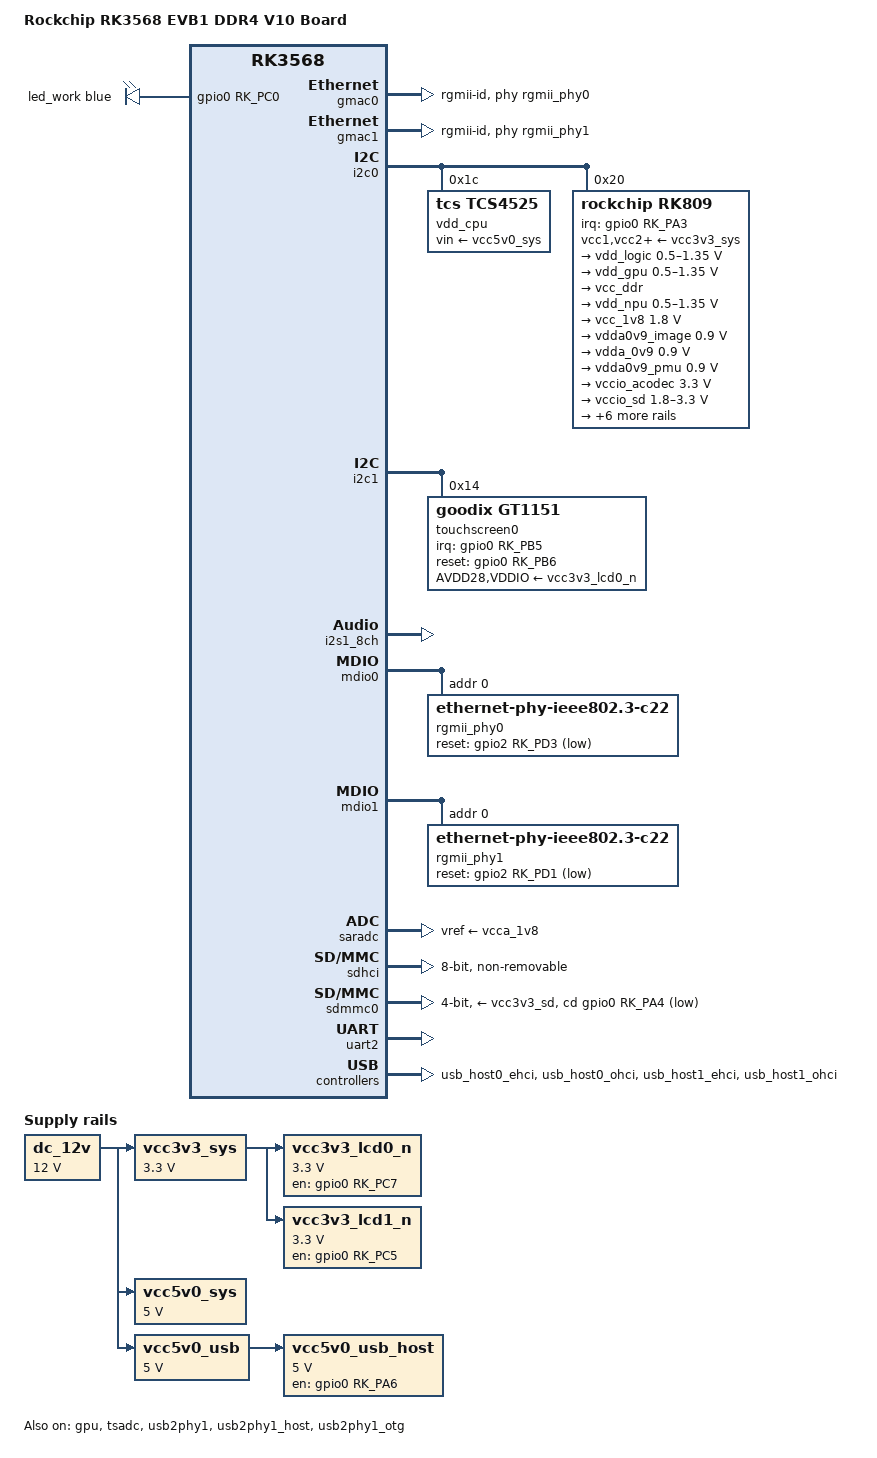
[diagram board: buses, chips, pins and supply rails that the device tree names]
// SPDX-License-Identifier: (GPL-2.0+ OR MIT)
/*
 * Copyright (c) 2021 Rockchip Electronics Co., Ltd.
 *
 */

/dts-v1/;
#include <dt-bindings/gpio/gpio.h>
#include <dt-bindings/leds/common.h>
#include <dt-bindings/pinctrl/rockchip.h>
#include "rk3568.dtsi"

/ {
	model = "Rockchip RK3568 EVB1 DDR4 V10 Board";
	compatible = "rockchip,rk3568-evb1-v10", "rockchip,rk3568";

	aliases {
		ethernet0 = &gmac0;
		ethernet1 = &gmac1;
		mmc0 = &sdmmc0;
		mmc1 = &sdhci;
	};

	chosen: chosen {
		stdout-path = "serial2:1500000n8";
	};

	dc_12v: dc-12v {
		compatible = "regulator-fixed";
		regulator-name = "dc_12v";
		regulator-always-on;
		regulator-boot-on;
		regulator-min-microvolt = <12000000>;
		regulator-max-microvolt = <12000000>;
	};

	leds {
		compatible = "gpio-leds";

		led_work: led-0 {
			gpios = <&gpio0 RK_PC0 GPIO_ACTIVE_HIGH>;
			function = LED_FUNCTION_HEARTBEAT;
			color = <LED_COLOR_ID_BLUE>;
			linux,default-trigger = "heartbeat";
			pinctrl-names = "default";
			pinctrl-0 = <&led_work_en>;
		};
	};

	rk809-sound {
		compatible = "simple-audio-card";
		simple-audio-card,format = "i2s";
		simple-audio-card,name = "Analog RK809";
		simple-audio-card,mclk-fs = <256>;

		simple-audio-card,cpu {
			sound-dai = <&i2s1_8ch>;
		};
		simple-audio-card,codec {
			sound-dai = <&rk809>;
		};
	};

	vcc3v3_sys: vcc3v3-sys {
		compatible = "regulator-fixed";
		regulator-name = "vcc3v3_sys";
		regulator-always-on;
		regulator-boot-on;
		regulator-min-microvolt = <3300000>;
		regulator-max-microvolt = <3300000>;
		vin-supply = <&dc_12v>;
	};

	vcc5v0_sys: vcc5v0-sys {
		compatible = "regulator-fixed";
		regulator-name = "vcc5v0_sys";
		regulator-always-on;
		regulator-boot-on;
		regulator-min-microvolt = <5000000>;
		regulator-max-microvolt = <5000000>;
		vin-supply = <&dc_12v>;
	};

	vcc5v0_usb: vcc5v0-usb {
		compatible = "regulator-fixed";
		regulator-name = "vcc5v0_usb";
		regulator-always-on;
		regulator-boot-on;
		regulator-min-microvolt = <5000000>;
		regulator-max-microvolt = <5000000>;
		vin-supply = <&dc_12v>;
	};

	vcc5v0_usb_host: vcc5v0-usb-host {
		compatible = "regulator-fixed";
		enable-active-high;
		gpio = <&gpio0 RK_PA6 GPIO_ACTIVE_HIGH>;
		pinctrl-names = "default";
		pinctrl-0 = <&vcc5v0_usb_host_en>;
		regulator-name = "vcc5v0_usb_host";
		regulator-min-microvolt = <5000000>;
		regulator-max-microvolt = <5000000>;
		vin-supply = <&vcc5v0_usb>;
	};

	vcc3v3_lcd0_n: vcc3v3-lcd0-n {
		compatible = "regulator-fixed";
		regulator-name = "vcc3v3_lcd0_n";
		regulator-min-microvolt = <3300000>;
		regulator-max-microvolt = <3300000>;
		enable-active-high;
		gpio = <&gpio0 RK_PC7 GPIO_ACTIVE_HIGH>;
		vin-supply = <&vcc3v3_sys>;
		pinctrl-names = "default";
		pinctrl-0 = <&vcc3v3_lcd0_n_en>;

		regulator-state-mem {
			regulator-off-in-suspend;
		};
	};

	vcc3v3_lcd1_n: vcc3v3-lcd1-n {
		compatible = "regulator-fixed";
		regulator-name = "vcc3v3_lcd1_n";
		regulator-min-microvolt = <3300000>;
		regulator-max-microvolt = <3300000>;
		enable-active-high;
		gpio = <&gpio0 RK_PC5 GPIO_ACTIVE_HIGH>;
		vin-supply = <&vcc3v3_sys>;
		pinctrl-names = "default";
		pinctrl-0 = <&vcc3v3_lcd1_n_en>;

		regulator-state-mem {
			regulator-off-in-suspend;
		};
	};
};

&cpu0 {
	cpu-supply = <&vdd_cpu>;
};

&cpu1 {
	cpu-supply = <&vdd_cpu>;
};

&cpu2 {
	cpu-supply = <&vdd_cpu>;
};

&cpu3 {
	cpu-supply = <&vdd_cpu>;
};

&gmac0 {
	assigned-clocks = <&cru SCLK_GMAC0_RX_TX>, <&cru SCLK_GMAC0>;
	assigned-clock-parents = <&cru SCLK_GMAC0_RGMII_SPEED>;
	assigned-clock-rates = <0>, <125000000>;
	clock_in_out = "output";
	phy-handle = <&rgmii_phy0>;
	phy-mode = "rgmii-id";
	pinctrl-names = "default";
	pinctrl-0 = <&gmac0_miim
		     &gmac0_tx_bus2
		     &gmac0_rx_bus2
		     &gmac0_rgmii_clk
		     &gmac0_rgmii_bus>;
	status = "okay";
};

&gmac1 {
	assigned-clocks = <&cru SCLK_GMAC1_RX_TX>, <&cru SCLK_GMAC1>;
	assigned-clock-parents = <&cru SCLK_GMAC1_RGMII_SPEED>;
	assigned-clock-rates = <0>, <125000000>;
	clock_in_out = "output";
	phy-handle = <&rgmii_phy1>;
	phy-mode = "rgmii-id";
	pinctrl-names = "default";
	pinctrl-0 = <&gmac1m1_miim
		     &gmac1m1_tx_bus2
		     &gmac1m1_rx_bus2
		     &gmac1m1_rgmii_clk
		     &gmac1m1_rgmii_bus>;
	status = "okay";
};

&gpu {
	mali-supply = <&vdd_gpu>;
	status = "okay";
};

&i2c0 {
	status = "okay";

	vdd_cpu: regulator@1c {
		compatible = "tcs,tcs4525";
		reg = <0x1c>;
		fcs,suspend-voltage-selector = <1>;
		regulator-name = "vdd_cpu";
		regulator-always-on;
		regulator-boot-on;
		regulator-min-microvolt = <800000>;
		regulator-max-microvolt = <1150000>;
		regulator-ramp-delay = <2300>;
		vin-supply = <&vcc5v0_sys>;

		regulator-state-mem {
			regulator-off-in-suspend;
		};
	};

	rk809: pmic@20 {
		compatible = "rockchip,rk809";
		reg = <0x20>;
		interrupt-parent = <&gpio0>;
		interrupts = <RK_PA3 IRQ_TYPE_LEVEL_LOW>;
		assigned-clocks = <&cru I2S1_MCLKOUT_TX>;
		assigned-clock-parents = <&cru CLK_I2S1_8CH_TX>;
		#clock-cells = <1>;
		clock-names = "mclk";
		clocks = <&cru I2S1_MCLKOUT_TX>;
		pinctrl-names = "default";
		pinctrl-0 = <&pmic_int>, <&i2s1m0_mclk>;
		rockchip,system-power-controller;
		#sound-dai-cells = <0>;
		vcc1-supply = <&vcc3v3_sys>;
		vcc2-supply = <&vcc3v3_sys>;
		vcc3-supply = <&vcc3v3_sys>;
		vcc4-supply = <&vcc3v3_sys>;
		vcc5-supply = <&vcc3v3_sys>;
		vcc6-supply = <&vcc3v3_sys>;
		vcc7-supply = <&vcc3v3_sys>;
		vcc8-supply = <&vcc3v3_sys>;
		vcc9-supply = <&vcc3v3_sys>;
		wakeup-source;

		regulators {
			vdd_logic: DCDC_REG1 {
				regulator-name = "vdd_logic";
				regulator-always-on;
				regulator-boot-on;
				regulator-init-microvolt = <900000>;
				regulator-initial-mode = <0x2>;
				regulator-min-microvolt = <500000>;
				regulator-max-microvolt = <1350000>;
				regulator-ramp-delay = <6001>;

				regulator-state-mem {
					regulator-off-in-suspend;
				};
			};

			vdd_gpu: DCDC_REG2 {
				regulator-name = "vdd_gpu";
				regulator-always-on;
				regulator-init-microvolt = <900000>;
				regulator-initial-mode = <0x2>;
				regulator-min-microvolt = <500000>;
				regulator-max-microvolt = <1350000>;
				regulator-ramp-delay = <6001>;

				regulator-state-mem {
					regulator-off-in-suspend;
				};
			};

			vcc_ddr: DCDC_REG3 {
				regulator-name = "vcc_ddr";
				regulator-always-on;
				regulator-boot-on;
				regulator-initial-mode = <0x2>;

				regulator-state-mem {
					regulator-on-in-suspend;
				};
			};

			vdd_npu: DCDC_REG4 {
				regulator-name = "vdd_npu";
				regulator-init-microvolt = <900000>;
				regulator-initial-mode = <0x2>;
				regulator-min-microvolt = <500000>;
				regulator-max-microvolt = <1350000>;
				regulator-ramp-delay = <6001>;

				regulator-state-mem {
					regulator-off-in-suspend;
				};
			};

			vcc_1v8: DCDC_REG5 {
				regulator-name = "vcc_1v8";
				regulator-always-on;
				regulator-boot-on;
				regulator-min-microvolt = <1800000>;
				regulator-max-microvolt = <1800000>;

				regulator-state-mem {
					regulator-off-in-suspend;
				};
			};

			vdda0v9_image: LDO_REG1 {
				regulator-name = "vdda0v9_image";
				regulator-min-microvolt = <900000>;
				regulator-max-microvolt = <900000>;

				regulator-state-mem {
					regulator-off-in-suspend;
				};
			};

			vdda_0v9: LDO_REG2 {
				regulator-name = "vdda_0v9";
				regulator-always-on;
				regulator-boot-on;
				regulator-min-microvolt = <900000>;
				regulator-max-microvolt = <900000>;

				regulator-state-mem {
					regulator-off-in-suspend;
				};
			};

			vdda0v9_pmu: LDO_REG3 {
				regulator-name = "vdda0v9_pmu";
				regulator-always-on;
				regulator-boot-on;
				regulator-min-microvolt = <900000>;
				regulator-max-microvolt = <900000>;

				regulator-state-mem {
					regulator-on-in-suspend;
					regulator-suspend-microvolt = <900000>;
				};
			};

			vccio_acodec: LDO_REG4 {
				regulator-name = "vccio_acodec";
				regulator-always-on;
				regulator-min-microvolt = <3300000>;
				regulator-max-microvolt = <3300000>;

				regulator-state-mem {
					regulator-off-in-suspend;
				};
			};

			vccio_sd: LDO_REG5 {
				regulator-name = "vccio_sd";
				regulator-min-microvolt = <1800000>;
				regulator-max-microvolt = <3300000>;

				regulator-state-mem {
					regulator-off-in-suspend;
				};
			};

			vcc3v3_pmu: LDO_REG6 {
				regulator-name = "vcc3v3_pmu";
				regulator-always-on;
				regulator-boot-on;
				regulator-min-microvolt = <3300000>;
				regulator-max-microvolt = <3300000>;

				regulator-state-mem {
					regulator-on-in-suspend;
					regulator-suspend-microvolt = <3300000>;
				};
			};

			vcca_1v8: LDO_REG7 {
				regulator-name = "vcca_1v8";
				regulator-always-on;
				regulator-boot-on;
				regulator-min-microvolt = <1800000>;
				regulator-max-microvolt = <1800000>;

				regulator-state-mem {
					regulator-off-in-suspend;
				};
			};

			vcca1v8_pmu: LDO_REG8 {
				regulator-name = "vcca1v8_pmu";
				regulator-always-on;
				regulator-boot-on;
				regulator-min-microvolt = <1800000>;
				regulator-max-microvolt = <1800000>;

				regulator-state-mem {
					regulator-on-in-suspend;
					regulator-suspend-microvolt = <1800000>;
				};
			};

			vcca1v8_image: LDO_REG9 {
				regulator-name = "vcca1v8_image";
				regulator-min-microvolt = <1800000>;
				regulator-max-microvolt = <1800000>;

				regulator-state-mem {
					regulator-off-in-suspend;
				};
			};

			vcc_3v3: SWITCH_REG1 {
				regulator-name = "vcc_3v3";
				regulator-always-on;
				regulator-boot-on;

				regulator-state-mem {
					regulator-off-in-suspend;
				};
			};

			vcc3v3_sd: SWITCH_REG2 {
				regulator-name = "vcc3v3_sd";

				regulator-state-mem {
					regulator-off-in-suspend;
				};
			};
		};

		codec {
			mic-in-differential;
		};
	};
};

&i2c1 {
	status = "okay";

	touchscreen0: goodix@14 {
		compatible = "goodix,gt1151";
		reg = <0x14>;
		interrupt-parent = <&gpio0>;
		interrupts = <RK_PB5 IRQ_TYPE_EDGE_FALLING>;
		AVDD28-supply = <&vcc3v3_lcd0_n>;
		irq-gpios = <&gpio0 RK_PB5 GPIO_ACTIVE_HIGH>;
		pinctrl-names = "default";
		pinctrl-0 = <&touch_int &touch_rst>;
		reset-gpios = <&gpio0 RK_PB6 GPIO_ACTIVE_HIGH>;
		VDDIO-supply = <&vcc3v3_lcd0_n>;
	};
};

&i2s1_8ch {
	rockchip,trcm-sync-tx-only;
	status = "okay";
};

&mdio0 {
	rgmii_phy0: ethernet-phy@0 {
		compatible = "ethernet-phy-ieee802.3-c22";
		reg = <0x0>;
		reset-assert-us = <20000>;
		reset-deassert-us = <100000>;
		reset-gpios = <&gpio2 RK_PD3 GPIO_ACTIVE_LOW>;
	};
};

&mdio1 {
	rgmii_phy1: ethernet-phy@0 {
		compatible = "ethernet-phy-ieee802.3-c22";
		reg = <0x0>;
		reset-assert-us = <20000>;
		reset-deassert-us = <100000>;
		reset-gpios = <&gpio2 RK_PD1 GPIO_ACTIVE_LOW>;
	};
};

&pinctrl {
	display {
		vcc3v3_lcd0_n_en: vcc3v3_lcd0_n_en {
			rockchip,pins = <0 RK_PC7 0 &pcfg_pull_none>;
		};
		vcc3v3_lcd1_n_en: vcc3v3_lcd1_n_en {
			rockchip,pins = <0 RK_PC5 0 &pcfg_pull_none>;
		};
	};

	leds {
		led_work_en: led_work_en {
			rockchip,pins = <0 RK_PC0 RK_FUNC_GPIO &pcfg_pull_none>;
		};
	};

	pmic {
		pmic_int: pmic_int {
			rockchip,pins =
				<0 RK_PA3 RK_FUNC_GPIO &pcfg_pull_up>;
		};
	};

	touchscreen {
		touch_int: touch_int {
			rockchip,pins = <0 RK_PB5 RK_FUNC_GPIO &pcfg_pull_up>;
		};
		touch_rst: touch_rst {
			rockchip,pins = <0 RK_PB6 RK_FUNC_GPIO &pcfg_pull_none>;
		};
	};

	usb {
		vcc5v0_usb_host_en: vcc5v0_usb_host_en {
			rockchip,pins = <0 RK_PA6 RK_FUNC_GPIO &pcfg_pull_none>;
		};
	};
};

&pmu_io_domains {
	pmuio1-supply = <&vcc3v3_pmu>;
	pmuio2-supply = <&vcc3v3_pmu>;
	vccio1-supply = <&vccio_acodec>;
	vccio2-supply = <&vcc_1v8>;
	vccio3-supply = <&vccio_sd>;
	vccio4-supply = <&vcc_1v8>;
	vccio5-supply = <&vcc_3v3>;
	vccio6-supply = <&vcc_1v8>;
	vccio7-supply = <&vcc_3v3>;
	status = "okay";
};

&saradc {
	vref-supply = <&vcca_1v8>;
	status = "okay";
};

&sdhci {
	bus-width = <8>;
	max-frequency = <200000000>;
	non-removable;
	pinctrl-names = "default";
	pinctrl-0 = <&emmc_bus8 &emmc_clk &emmc_cmd &emmc_datastrobe>;
	status = "okay";
};

&sdmmc0 {
	bus-width = <4>;
	cap-sd-highspeed;
	cd-gpios = <&gpio0 RK_PA4 GPIO_ACTIVE_LOW>;
	disable-wp;
	pinctrl-names = "default";
	pinctrl-0 = <&sdmmc0_bus4 &sdmmc0_clk &sdmmc0_cmd &sdmmc0_det>;
	sd-uhs-sdr104;
	vmmc-supply = <&vcc3v3_sd>;
	vqmmc-supply = <&vccio_sd>;
	status = "okay";
};

&tsadc {
	rockchip,hw-tshut-mode = <1>;
	rockchip,hw-tshut-polarity = <0>;
	status = "okay";
};

&uart2 {
	status = "okay";
};

&usb_host0_ehci {
	status = "okay";
};

&usb_host0_ohci {
	status = "okay";
};

&usb_host1_ehci {
	status = "okay";
};

&usb_host1_ohci {
	status = "okay";
};

&usb2phy1 {
	status = "okay";
};

&usb2phy1_host {
	phy-supply = <&vcc5v0_usb_host>;
	status = "okay";
};

&usb2phy1_otg {
	phy-supply = <&vcc5v0_usb_host>;
	status = "okay";
};
